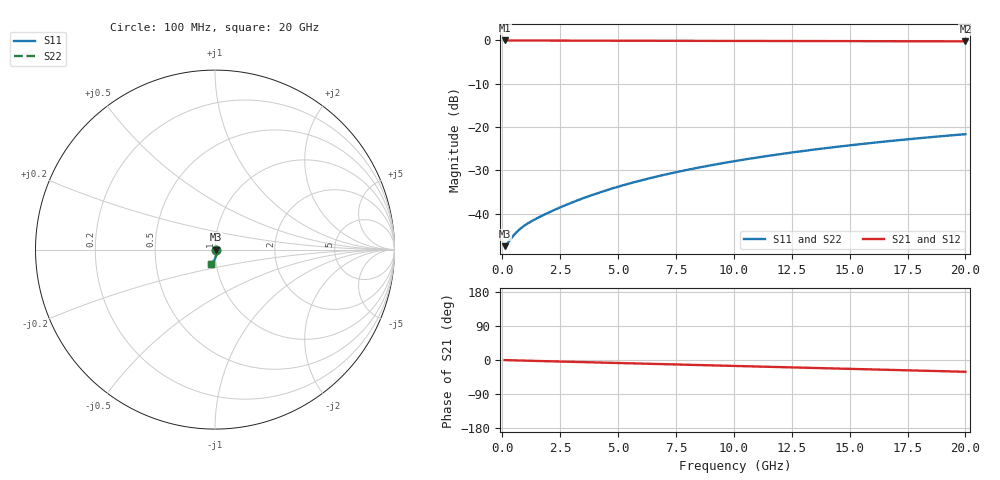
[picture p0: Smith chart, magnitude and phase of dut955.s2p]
! Touchstone file exported from HFSS 2026.1.0
!  File:  C:/ffzhzh/LocalFiles/Ansys_Project_Files/temp_train_BSMRDL_955_1783172297_18472.aedt
!  Generated:  09:39:31 PM Jul  4, 2026
!  Design:  BSMRDL
!  Project:  temp_train_BSMRDL_955_1783172297_18472
! Variables:
!  h_bsmrdl = 2.48um
!  h_ox = 20um
!  h_rdl = 5um
!  h_sub = 80um
!  h_tmrdl = 5um
!  h_tsv = 80um
!  h_via = 3um
!  l_bsmrdl = 540.82um
!  l_sub = 940.82um
!  l_tmrdl = 200um
!  m_sub = 200um
!  pitch = 21.67um
!  r_tsv = 6um
!  s_tmrdl = 10um
!  w_bsmrdl = 19.74um
!  w_sub = 500um
!  w_tmrdl = 12um
!  x_tsv_center1 = 206um
!  x_tsv_center2 = 766.56um
!  x_tsv_center3 = 978.56um
!  x_tsv_center4 = 1539.12um
!  x_tsv_center5 = 1751.12um
!  x_tsv_center6 = 2311.68um
# GHz S MA R 50.000000
! Terminal data exported
! Port[1] = BSM_RDL1_1_T1
! Port[2] = BSM_RDL1_1_T2
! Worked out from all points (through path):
!   200 points, 100 MHz to 20 GHz, reference 50 ohm
!   highest |S21| = -0.04 dB at 100 MHz (marker M1); lowest = -0.2 dB at 20 GHz (marker M2)
!   group delay of S21, straight-line fit = 4.3 ps
!   lowest |S11| = -47.5 dB at 100 MHz (marker M3), VSWR 1.01, Z = 50.4 + j0.0285 ohm
!   |S11| at or under -10 dB: start of sweep to end of sweep
!   |S22| runs from -47.5 to -21.7 dB; largest |S21 - S12| = 3.1e-15
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0.1  0.004222 3.8  0.9958 -0.2  0.9958 -0.2  0.004222 3.8
! Gamma 0 0 0 0
! Port Impedance 50 0 50 0
0.2  0.004481 6.4  0.9956 -0.4  0.9956 -0.4  0.004481 6.4
0.5  0.005664 4.7  0.9944 -0.9  0.9944 -0.9  0.005665 4.7
0.6  0.00606 2.2  0.9939 -1.1  0.9939 -1.1  0.006061 2.2
0.8  0.006781 -3.7  0.9932 -1.4  0.9932 -1.4  0.006781 -3.7
1.1  0.00772 -12.7  0.9924 -1.9  0.9924 -1.9  0.00772 -12.7
1.5  0.008864 -23.3  0.9916 -2.5  0.9916 -2.5  0.008864 -23.3
2.1  0.0106 -35.8  0.991 -3.4  0.991 -3.4  0.0106 -35.8
2.8  0.01278 -46.4  0.9904 -4.5  0.9904 -4.5  0.01278 -46.4
3.5  0.01511 -54.1  0.9899 -5.6  0.9899 -5.6  0.01511 -54.1
4.2  0.01756 -60.1  0.9894 -6.7  0.9894 -6.7  0.01756 -60.1
5  0.02048 -65.4  0.9888 -8.0  0.9888 -8.0  0.02048 -65.4
5.9  0.02386 -70.1  0.988 -9.4  0.988 -9.4  0.02386 -70.1
6.8  0.02734 -74.0  0.9872 -10.8  0.9872 -10.8  0.02734 -74.0
8.4  0.03371 -79.4  0.9857 -13.3  0.9857 -13.3  0.03371 -79.5
10.1  0.04069 -84.2  0.9839 -16.0  0.9839 -16.0  0.04069 -84.2
11.7  0.04739 -88.1  0.9821 -18.4  0.9821 -18.4  0.04739 -88.1
13.4  0.05462 -91.8  0.9802 -21.0  0.9802 -21.0  0.05462 -91.9
15  0.06146 -95.2  0.9782 -23.5  0.9782 -23.5  0.06146 -95.2
16.7  0.06873 -98.6  0.9762 -26.1  0.9762 -26.1  0.06873 -98.6
18.3  0.07553 -101.7  0.9742 -28.5  0.9742 -28.5  0.07552 -101.7
20  0.08265 -104.9  0.9721 -31.1  0.9721 -31.1  0.08265 -104.9
